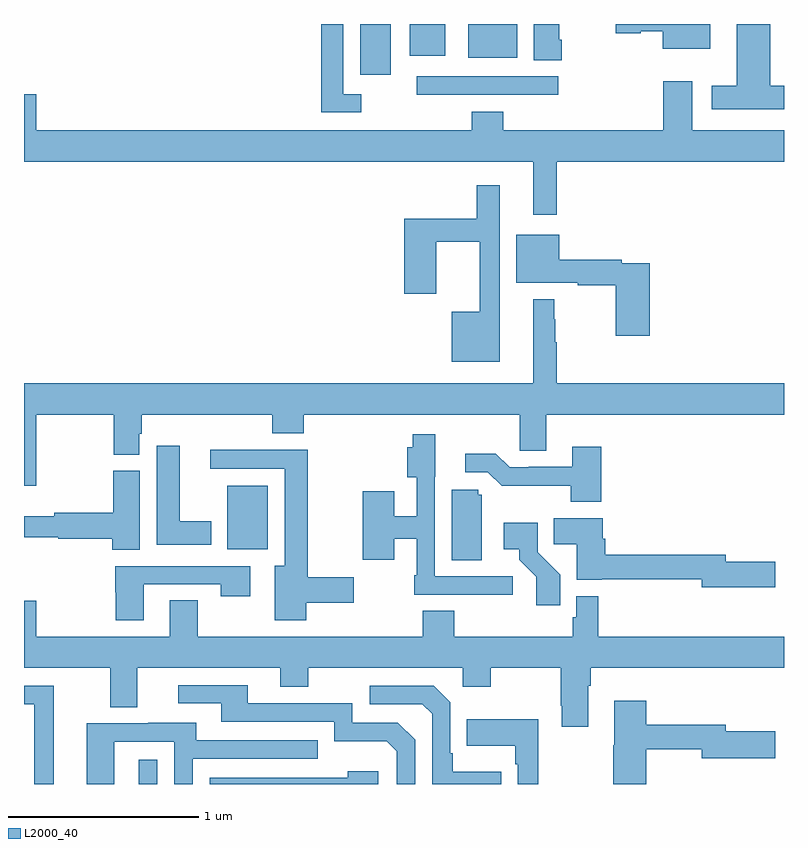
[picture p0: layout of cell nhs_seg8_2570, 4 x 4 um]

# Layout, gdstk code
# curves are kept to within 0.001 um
import gdstk
lib = gdstk.Library(unit=1e-6, precision=1e-09)
def R(c, l, rs):  # rectangles x0, y0, x1, y1
    for r in rs: c.add(gdstk.rectangle(r[:2], r[2:], *l))
def P(c, l, *ps):  # polygons
    for p in ps: c.add(gdstk.Polygon(p, *l))
L2000_40 = (2000, 40)

nhs_seg8_2570 = lib.new_cell('nhs_seg8_2570')
R(nhs_seg8_2570, L2000_40, [(273.605,1103.9,273.702,1104.028), (274.07,1105.136,274.282,1105.471), (275.067,1107.528,275.812,1107.624), (274.769,1107.633,274.93,1107.9), (275.339,1107.722,275.596,1107.9), (275.03,1107.734,275.218,1107.9)])
P(nhs_seg8_2570, L2000_40, [(276.613,1107.9),(276.114,1107.9),(276.114,1107.851),(276.246,1107.851),(276.246,1107.863),(276.362,1107.863),(276.362,1107.77),(276.613,1107.77)],
  [(274.774,1107.531),(274.68,1107.531),(274.68,1107.9),(274.564,1107.9),(274.564,1107.435),(274.774,1107.435)],
  [(275.831,1107.817),(275.818,1107.817),(275.818,1107.9),(275.684,1107.9),(275.684,1107.709),(275.831,1107.709)],
  [(277,1107.574),(276.928,1107.574),(276.928,1107.9),(276.752,1107.9),(276.752,1107.574),(276.621,1107.574),(276.621,1107.452),(277,1107.452)],
  [(275.803,1107.176),(277,1107.176),(277,1107.34),(276.517,1107.34),(276.517,1107.598),(276.365,1107.598),(276.365,1107.34),(275.522,1107.34),(275.522,1107.439),(275.357,1107.439),(275.357,1107.34),(273.064,1107.34),(273.064,1107.529),(273,1107.529),(273,1107.176),(275.681,1107.176),(275.681,1106.895),(275.803,1106.895)],
  [(275.503,1107.052),(275.382,1107.052),(275.382,1106.875),(275,1106.875),(275,1106.481),(275.17,1106.481),(275.17,1106.754),(275.399,1106.754),(275.399,1106.386),(275.252,1106.386),(275.252,1106.123),(275.503,1106.123)],
  [(276.293,1106.64),(276.146,1106.64),(276.146,1106.66),(275.818,1106.66),(275.818,1106.791),(275.591,1106.791),(275.591,1106.537),(275.914,1106.537),(275.914,1106.524),(276.115,1106.524),(276.115,1106.259),(276.293,1106.259)],
  [(273.064,1105.844),(273.472,1105.844),(273.472,1105.633),(273.607,1105.633),(273.607,1105.743),(273.62,1105.743),(273.62,1105.844),(274.307,1105.844),(274.307,1105.745),(274.472,1105.745),(274.472,1105.844),(275.61,1105.844),(275.61,1105.654),(275.749,1105.654),(275.749,1105.844),(277,1105.844),(277,1106.008),(275.803,1106.008),(275.803,1106.225),(275.795,1106.225),(275.795,1106.345),(275.792,1106.345),(275.792,1106.452),(275.681,1106.452),(275.681,1106.008),(273,1106.008),(273,1105.47),(273.064,1105.47)],
  [(275.572,1104.993),(275.163,1104.993),(275.163,1105.518),(275.164,1105.518),(275.164,1105.741),(275.047,1105.741),(275.047,1105.672),(275.018,1105.672),(275.018,1105.514),(275.067,1105.514),(275.067,1105.31),(274.948,1105.31),(274.948,1105.441),(274.783,1105.441),(274.783,1105.08),(274.948,1105.08),(274.948,1105.192),(275.067,1105.192),(275.067,1105),(275.055,1105),(275.055,1104.897),(275.347,1104.897),(275.347,1104.895),(275.572,1104.895)],
  [(273.985,1105.282),(273.82,1105.282),(273.82,1105.681),(273.698,1105.681),(273.698,1105.16),(273.985,1105.16)],
  [(276.038,1105.675),(275.885,1105.675),(275.885,1105.569),(275.656,1105.569),(275.656,1105.566),(275.556,1105.566),(275.483,1105.639),(275.322,1105.639),(275.322,1105.542),(275.442,1105.542),(275.515,1105.469),(275.878,1105.47),(275.878,1105.385),(276.038,1105.385)],
  [(274.486,1104.854),(274.735,1104.854),(274.735,1104.989),(274.494,1104.989),(274.494,1105.658),(273.981,1105.658),(273.981,1105.56),(274.373,1105.56),(274.373,1105.048),(274.319,1105.048),(274.319,1104.762),(274.486,1104.762)],
  [(273.61,1105.548),(273.469,1105.548),(273.469,1105.328),(273.16,1105.328),(273.16,1105.309),(273,1105.309),(273,1105.2),(273.18,1105.2),(273.18,1105.192),(273.464,1105.192),(273.464,1105.132),(273.61,1105.132)],
  [(275.41,1105.422),(275.391,1105.422),(275.391,1105.449),(275.252,1105.449),(275.252,1105.078),(275.41,1105.078)],
  [(276.955,1105.07),(276.694,1105.07),(276.694,1105.106),(276.059,1105.106),(276.059,1105.19),(276.046,1105.19),(276.046,1105.3),(275.788,1105.3),(275.788,1105.162),(275.909,1105.162),(275.909,1104.974),(276.042,1104.974),(276.042,1104.978),(276.566,1104.978),(276.566,1104.935),(276.955,1104.935)],
  [(275.822,1105.002),(275.703,1105.121),(275.703,1105.276),(275.526,1105.276),(275.526,1105.136),(275.606,1105.136),(275.606,1105.081),(275.697,1104.991),(275.697,1104.84),(275.822,1104.84)],
  [(273.631,1104.951),(274.036,1104.951),(274.036,1104.888),(274.192,1104.888),(274.192,1105.047),(273.479,1105.047),(273.479,1104.909),(273.484,1104.909),(273.484,1104.762),(273.631,1104.762)],
  [(275.971,1104.416),(275.984,1104.416),(275.984,1104.512),(277,1104.512),(277,1104.676),(276.023,1104.676),(276.023,1104.889),(275.907,1104.889),(275.907,1104.777),(275.887,1104.777),(275.887,1104.676),(275.264,1104.676),(275.264,1104.812),(275.099,1104.812),(275.099,1104.676),(273.915,1104.676),(273.915,1104.866),(273.767,1104.866),(273.767,1104.676),(273.064,1104.676),(273.064,1104.865),(273,1104.865),(273,1104.512),(273.455,1104.512),(273.455,1104.304),(273.595,1104.304),(273.595,1104.512),(274.349,1104.512),(274.349,1104.413),(274.497,1104.413),(274.497,1104.512),(275.31,1104.512),(275.31,1104.413),(275.457,1104.413),(275.457,1104.512),(275.824,1104.512),(275.824,1104.313),(275.831,1104.313),(275.831,1104.201),(275.971,1104.201)],
  [(275.058,1104.132),(274.968,1104.222),(274.728,1104.222),(274.728,1104.324),(274.177,1104.324),(274.177,1104.42),(273.813,1104.42),(273.813,1104.324),(274.037,1104.324),(274.037,1104.228),(274.632,1104.228),(274.632,1104.125),(274.909,1104.125),(274.962,1104.072),(274.962,1103.9),(275.058,1103.9)],
  [(273.157,1104.417),(273,1104.417),(273,1104.321),(273.053,1104.321),(273.053,1103.9),(273.157,1103.9)],
  [(275.513,1103.965),(275.257,1103.965),(275.257,1104.061),(275.244,1104.061),(275.244,1104.33),(275.157,1104.417),(274.821,1104.417),(274.821,1104.321),(275.097,1104.321),(275.148,1104.27),(275.148,1103.9),(275.513,1103.9)],
  [(276.275,1104.082),(276.566,1104.082),(276.566,1104.035),(276.955,1104.035),(276.955,1104.177),(276.694,1104.177),(276.694,1104.211),(276.275,1104.211),(276.275,1104.337),(276.107,1104.337),(276.107,1104.105),(276.1,1104.105),(276.1,1103.9),(276.275,1103.9)],
  [(275.707,1104.241),(275.329,1104.241),(275.329,1104.101),(275.586,1104.101),(275.586,1104.005),(275.598,1104.005),(275.598,1103.9),(275.707,1103.9)],
  [(273.474,1104.123),(273.792,1104.123),(273.792,1103.9),(273.888,1103.9),(273.888,1104.033),(274.547,1104.033),(274.547,1104.129),(273.907,1104.129),(273.907,1104.223),(273.653,1104.223),(273.653,1104.219),(273.329,1104.219),(273.329,1103.9),(273.474,1103.9)],
  [(274.864,1103.968),(274.703,1103.968),(274.703,1103.934),(273.978,1103.934),(273.978,1103.9),(274.864,1103.9)])

lib.write_gds('nhs_seg8_2570.gds')
